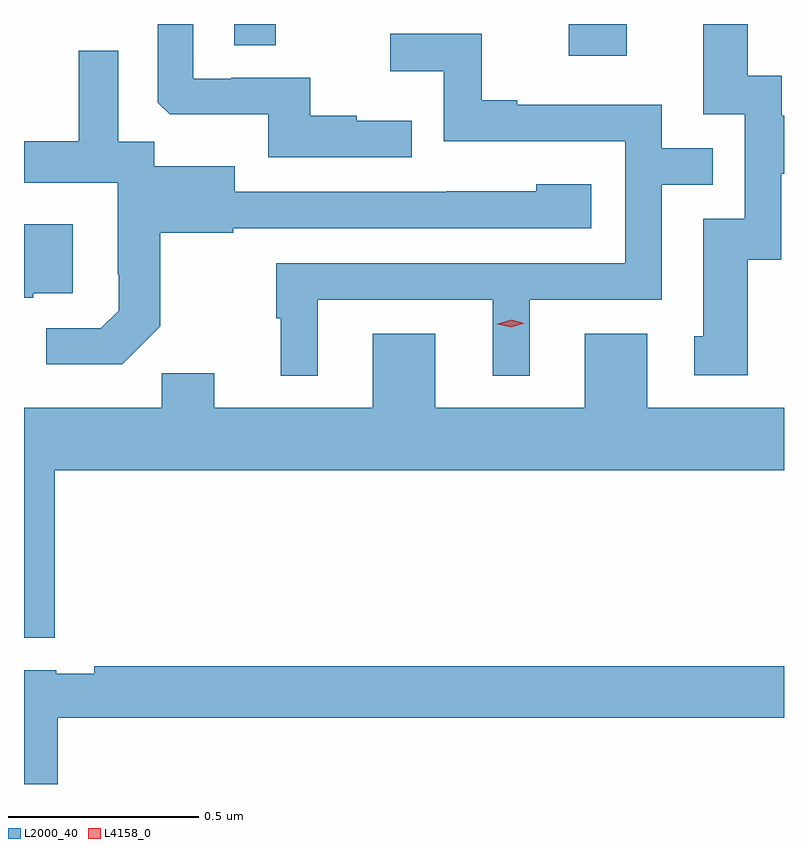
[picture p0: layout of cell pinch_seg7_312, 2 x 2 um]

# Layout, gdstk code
import gdstk
lib = gdstk.Library(unit=1e-6, precision=1e-09)
def R(c, l, rs):  # rectangles x0, y0, x1, y1
    for r in rs: c.add(gdstk.rectangle(r[:2], r[2:], *l))
def P(c, l, *ps):  # polygons
    for p in ps: c.add(gdstk.Polygon(p, *l))
L2000_40 = (2000, 40)
L4158_0 = (4158, 0)

pinch_seg7_312 = lib.new_cell('pinch_seg7_312')
R(pinch_seg7_312, L2000_40, [(559.553,1050.99,559.705,1051.074), (558.672,1051.018,558.781,1051.074)])
P(pinch_seg7_312, L2000_40, [(560.023,1050.453),(560.112,1050.453),(560.112,1050.68),(560.119,1050.68),(560.119,1050.832),(560.113,1050.832),(560.113,1050.938),(560.023,1050.938),(560.023,1051.074),(559.907,1051.074),(559.907,1050.837),(560.016,1050.837),(560.016,1050.561),(559.907,1050.561),(559.907,1050.252),(559.883,1050.252),(559.883,1050.15),(560.023,1050.15)],
  [(559.139,1050.82),(558.995,1050.82),(558.995,1050.832),(558.872,1050.832),(558.872,1050.933),(558.664,1050.933),(558.664,1050.93),(558.564,1050.93),(558.564,1051.074),(558.471,1051.074),(558.471,1050.867),(558.503,1050.836),(558.762,1050.836),(558.762,1050.723),(559.139,1050.723)],
  [(558.892,1050.348),(559.352,1050.348),(559.352,1050.149),(559.45,1050.149),(559.45,1050.348),(559.797,1050.348),(559.797,1050.651),(559.931,1050.651),(559.931,1050.747),(559.797,1050.747),(559.797,1050.861),(559.417,1050.861),(559.417,1050.874),(559.323,1050.874),(559.323,1051.049),(559.083,1051.049),(559.083,1050.95),(559.224,1050.95),(559.224,1050.765),(559.701,1050.765),(559.701,1050.444),(558.783,1050.444),(558.783,1050.3),(558.794,1050.3),(558.794,1050.149),(558.892,1050.149)],
  [(558.477,1050.279),(558.477,1050.525),(558.669,1050.525),(558.669,1050.537),(559.612,1050.537),(559.612,1050.652),(559.467,1050.652),(559.467,1050.634),(559.231,1050.634),(559.231,1050.633),(558.673,1050.633),(558.673,1050.7),(558.462,1050.7),(558.462,1050.764),(558.367,1050.764),(558.367,1051.003),(558.263,1051.003),(558.263,1050.766),(558.119,1050.766),(558.119,1050.656),(558.366,1050.656),(558.366,1050.415),(558.368,1050.415),(558.368,1050.32),(558.321,1050.273),(558.177,1050.273),(558.177,1050.179),(558.377,1050.179)],
  [(558.143,1050.366),(558.247,1050.366),(558.247,1050.547),(558.119,1050.547),(558.119,1050.354),(558.143,1050.354)],
  [(558.2,1049.9),(560.119,1049.9),(560.119,1050.064),(559.759,1050.064),(559.759,1050.259),(559.595,1050.259),(559.595,1050.064),(559.201,1050.064),(559.201,1050.259),(559.037,1050.259),(559.037,1050.064),(558.619,1050.064),(558.619,1050.155),(558.481,1050.155),(558.481,1050.064),(558.119,1050.064),(558.119,1049.459),(558.2,1049.459)],
  [(558.208,1049.248),(560.119,1049.248),(560.119,1049.384),(558.304,1049.384),(558.304,1049.364),(558.204,1049.364),(558.204,1049.374),(558.119,1049.374),(558.119,1049.074),(558.208,1049.074)])
P(pinch_seg7_312, L4158_0, [(559.401,1050.276),(559.366,1050.284),(559.365,1050.284),(559.366,1050.285),(559.401,1050.296),(559.436,1050.287),(559.436,1050.287),(559.436,1050.287)])

lib.write_gds('pinch_seg7_312.gds')
